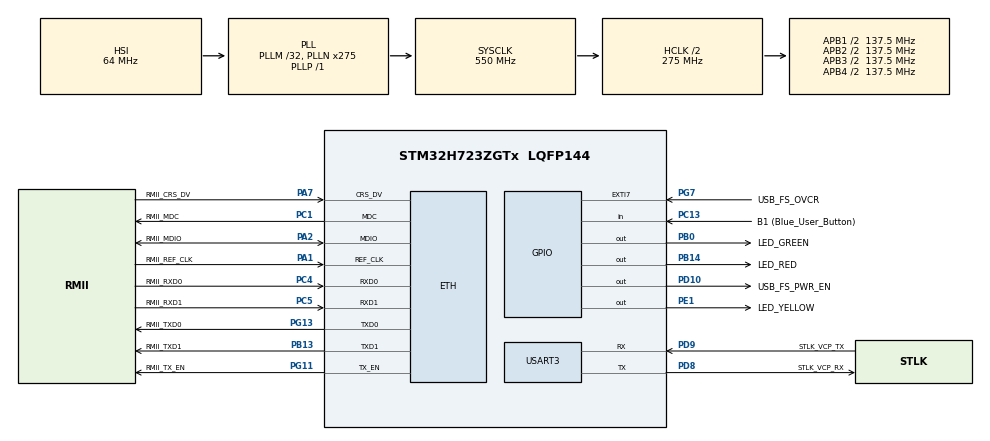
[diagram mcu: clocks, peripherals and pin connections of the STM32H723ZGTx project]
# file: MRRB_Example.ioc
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CORTEX_M7.AccessPermission-Cortex_Memory_Protection_Unit_Region0_Settings=MPU_REGION_FULL_ACCESS
CORTEX_M7.AccessPermission-Cortex_Memory_Protection_Unit_Region1_Settings=MPU_REGION_FULL_ACCESS
CORTEX_M7.BaseAddress-Cortex_Memory_Protection_Unit_Region1_Settings=0x30000000
CORTEX_M7.CPU_DCache=Enabled
CORTEX_M7.CPU_ICache=Enabled
CORTEX_M7.DisableExec-Cortex_Memory_Protection_Unit_Region1_Settings=MPU_INSTRUCTION_ACCESS_DISABLE
CORTEX_M7.Enable-Cortex_Memory_Protection_Unit_Region0_Settings=MPU_REGION_ENABLE
CORTEX_M7.Enable-Cortex_Memory_Protection_Unit_Region15_Settings=__NULL
CORTEX_M7.Enable-Cortex_Memory_Protection_Unit_Region1_Settings=MPU_REGION_ENABLE
CORTEX_M7.IsBufferable-Cortex_Memory_Protection_Unit_Region0_Settings=MPU_ACCESS_BUFFERABLE
CORTEX_M7.IsCacheable-Cortex_Memory_Protection_Unit_Region0_Settings=MPU_ACCESS_CACHEABLE
CORTEX_M7.MPU_Control=__NULL
CORTEX_M7.Size-Cortex_Memory_Protection_Unit_Region0_Settings=MPU_REGION_SIZE_1GB
CORTEX_M7.Size-Cortex_Memory_Protection_Unit_Region1_Settings=MPU_REGION_SIZE_1KB
CORTEX_M7.TypeExtField-Cortex_Memory_Protection_Unit_Region0_Settings=MPU_TEX_LEVEL1
CORTEX_M7.TypeExtField-Cortex_Memory_Protection_Unit_Region1_Settings=MPU_TEX_LEVEL1
ETH.MediaInterface=HAL_ETH_RMII_MODE
FATFS._FS_LOCK=4
FATFS._FS_RPATH=2
FATFS._USE_EXPAND=1
FATFS._USE_FORWARD=1
FATFS._USE_MUTEX=1
FREERTOS.Tasks01=defaultTask,24,512,StartDefaultTask,Default,NULL,Dynamic,NULL,NULL
FREERTOS.configCHECK_FOR_STACK_OVERFLOW=1
FREERTOS.configGENERATE_RUN_TIME_STATS=1
FREERTOS.configRECORD_STACK_HIGH_ADDRESS=1
FREERTOS.configTOTAL_HEAP_SIZE=40960
FREERTOS.configUSE_NEWLIB_REENTRANT=1
LWIP.API_LIB_DEBUG=LWIP_DBG_OFF
LWIP.API_MSG_DEBUG=LWIP_DBG_OFF
LWIP.AUTOIP_DEBUG=LWIP_DBG_OFF
LWIP.BSP.number=1
LWIP.DHCP_DEBUG=LWIP_DBG_OFF
LWIP.DNS_DEBUG=LWIP_DBG_OFF
LWIP.ETHARP_DEBUG=LWIP_DBG_OFF
LWIP.GATEWAY_ADDRESS=192.168.000.001
LWIP.ICMP_DEBUG=LWIP_DBG_ON
LWIP.IGMP_DEBUG=LWIP_DBG_ON
LWIP.INET_DEBUG=LWIP_DBG_OFF
LWIP.IP_ADDRESS=192.168.000.010
LWIP.IP_DEBUG=LWIP_DBG_OFF
LWIP.IP_REASS_DEBUG=LWIP_DBG_ON
LWIP.LWIP_DHCP=0
LWIP.LWIP_RAM_HEAP_POINTER=0x30004000
LWIP.LWIP_SINGLE_NETIF=1
LWIP.LWIP_SOCKET=1
LWIP.MEMP_DEBUG=LWIP_DBG_ON
LWIP.MEMP_NUM_NETCONN=8
LWIP.MEM_DEBUG=LWIP_DBG_ON
LWIP.MEM_SIZE=4096
LWIP.NETIF_DEBUG=LWIP_DBG_OFF
LWIP.NETMASK_ADDRESS=255.255.255.000
LWIP.PBUF_DEBUG=LWIP_DBG_OFF
LWIP.RAW_DEBUG=LWIP_DBG_ON
LWIP.SLIP_DEBUG=LWIP_DBG_OFF
LWIP.SOCKETS_DEBUG=LWIP_DBG_OFF
LWIP.SO_REUSE=1
LWIP.SYS_DEBUG=LWIP_DBG_ON
LWIP.TCPIP_DEBUG=LWIP_DBG_OFF
LWIP.TCPIP_THREAD_STACKSIZE=2048
LWIP.TCP_CWND_DEBUG=LWIP_DBG_OFF
LWIP.TCP_DEBUG=LWIP_DBG_OFF
LWIP.TCP_FR_DEBUG=LWIP_DBG_OFF
LWIP.TCP_INPUT_DEBUG=LWIP_DBG_OFF
LWIP.TCP_OUTPUT_DEBUG=LWIP_DBG_OFF
LWIP.TCP_QLEN_DEBUG=LWIP_DBG_OFF
LWIP.TCP_RST_DEBUG=LWIP_DBG_OFF
LWIP.TCP_RTO_DEBUG=LWIP_DBG_OFF
LWIP.TCP_WND_DEBUG=LWIP_DBG_OFF
LWIP.TIMERS_DEBUG=LWIP_DBG_OFF
LWIP.UDP_DEBUG=LWIP_DBG_OFF
LWIP.Version=v2.1.2_Cube
LWIP0.BSP.STBoard=false
LWIP0.BSP.api=BSP_COMPONENT_DRIVER
LWIP0.BSP.component=LAN8742
LWIP0.BSP.instance=LAN8742
LWIP0.BSP.name=Driver_PHY
LWIP0.BSP.semaphore=S_LAN8742
LWIP0.BSP.solution=LAN8742
Mcu.Family=STM32H7
Mcu.Name=STM32H723ZGTx
Mcu.Package=LQFP144
NVIC.ETH_IRQn=true\:5\:0\:false\:false\:true\:true\:true\:true\:true
NVIC.PriorityGroup=NVIC_PRIORITYGROUP_4
NVIC.TIM23_IRQn=true\:5\:0\:true\:false\:true\:true\:true\:true\:true
NVIC.TIM7_IRQn=true\:15\:0\:false\:false\:true\:false\:false\:true\:true
NVIC.TimeBase=TIM7_IRQn
NVIC.TimeBaseIP=TIM7
NVIC.USART3_IRQn=true\:5\:0\:false\:false\:true\:true\:true\:true\:true
PA1.GPIO_Label=RMII_REF_CLK
PA1.Mode=RMII
PA1.Signal=ETH_REF_CLK
PA10.GPIO_Label=USB_FS_ID
PA10.Signal=USB_OTG_HS_ID
PA13(JTMS/SWDIO).GPIO_Label=SWDIO
PA13(JTMS/SWDIO).Mode=Trace_Asynchronous_SW
PA13(JTMS/SWDIO).Signal=DEBUG_JTMS-SWDIO
PA14(JTCK/SWCLK).GPIO_Label=SWCLK
PA14(JTCK/SWCLK).Mode=Trace_Asynchronous_SW
PA14(JTCK/SWCLK).Signal=DEBUG_JTCK-SWCLK
PA2.GPIO_Label=RMII_MDIO
PA2.Mode=RMII
PA2.Signal=ETH_MDIO
PA7.GPIO_Label=RMII_CRS_DV
PA7.Mode=RMII
PA7.Signal=ETH_CRS_DV
PA9.GPIO_Label=USB_FS_VBUS
PA9.Signal=USB_OTG_HS_VBUS
PB0.GPIO_Label=LED_GREEN
PB0.Signal=GPIO_Output
PB13.GPIO_Label=RMII_TXD1
PB13.Mode=RMII
PB13.Signal=ETH_TXD1
PB14.GPIO_Label=LED_RED
PB14.Signal=GPIO_Output
PB3(JTDO/TRACESWO).GPIO_Label=SWO
PB3(JTDO/TRACESWO).Mode=Trace_Asynchronous_SW
PB3(JTDO/TRACESWO).Signal=DEBUG_JTDO-SWO
PC1.GPIO_Label=RMII_MDC
PC1.Mode=RMII
PC1.Signal=ETH_MDC
PC13.GPIO_Label=B1 (Blue_User_Button)
PC13.Signal=GPIO_Input
PC14-OSC32_IN.Mode=LSE-External-Oscillator
PC14-OSC32_IN.Signal=RCC_OSC32_IN
PC15-OSC32_OUT.Mode=LSE-External-Oscillator
PC15-OSC32_OUT.Signal=RCC_OSC32_OUT
PC4.GPIO_Label=RMII_RXD0
PC4.Mode=RMII
PC4.Signal=ETH_RXD0
PC5.GPIO_Label=RMII_RXD1
PC5.Mode=RMII
PC5.Signal=ETH_RXD1
PD10.GPIO_Label=USB_FS_PWR_EN
PD10.Signal=GPIO_Output
PD8.GPIO_Label=STLK_VCP_RX
PD8.Mode=Asynchronous
PD8.Signal=USART3_TX
PD9.GPIO_Label=STLK_VCP_TX
PD9.Mode=Asynchronous
PD9.Signal=USART3_RX
PE1.GPIO_Label=LED_YELLOW
PE1.Signal=GPIO_Output
PG11.GPIO_Label=RMII_TX_EN
PG11.Mode=RMII
PG11.Signal=ETH_TX_EN
PG13.GPIO_Label=RMII_TXD0
PG13.Mode=RMII
PG13.Signal=ETH_TXD0
PG7.GPIO_Label=USB_FS_OVCR
PG7.Signal=GPXTI7
PH0-OSC_IN.GPIO_Label=MCO
PH0-OSC_IN.Signal=RCC_OSC_IN
PH1-OSC_OUT.Signal=RCC_OSC_OUT
ProjectManager.HeapSize=0x200
ProjectManager.StackSize=0x400
ProjectManager.TargetToolchain=STM32CubeIDE
RCC.ADCFreq_Value=608000000
RCC.APB1Freq_Value=137500000
RCC.APB2Freq_Value=137500000
RCC.APB3Freq_Value=137500000
RCC.APB4Freq_Value=137500000
RCC.CortexFreq_Value=550000000
RCC.D1PPRE=RCC_APB3_DIV2
RCC.D2PPRE1=RCC_APB1_DIV2
RCC.D2PPRE2=RCC_APB2_DIV2
RCC.D3PPRE=RCC_APB4_DIV2
RCC.DIVM2=1
RCC.DIVN1=275
RCC.DIVN2=19
RCC.DIVP1=1
RCC.DIVQ1=4
RCC.HCLKFreq_Value=275000000
RCC.HPRE=RCC_HCLK_DIV2
RCC.HSE_VALUE=8000000
RCC.PLL2FRACN=0
RCC.PLL3FRACN=0
RCC.PLLFRACN=0
RCC.SYSCLKFreq_VALUE=550000000
RCC.SYSCLKSource=RCC_SYSCLKSOURCE_PLLCLK
RCC.USBCLockSelection=RCC_USBCLKSOURCE_HSI48
RCC.USBFreq_Value=48000000
TIM23.Prescaler=274
USART3.VirtualMode-Asynchronous=VM_ASYNC
VP_FATFS_VS_Generic.Mode=User_defined
VP_FREERTOS_VS_CMSIS_V2.Mode=CMSIS_V2
VP_LWIP_VS_Enabled.Mode=Enabled
VP_SYS_VS_tim7.Mode=TIM7
VP_TIM23_VS_ClockSourceINT.Mode=Internal
board=NUCLEO-H723ZG

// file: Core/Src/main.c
/* USER CODE BEGIN Header */
/**
  ******************************************************************************
  * @file           : main.c
  * @brief          : Main program body
  ******************************************************************************
  * @attention
  *
  * Copyright (c) 2023 STMicroelectronics.
  * All rights reserved.
  *
  * This software is licensed under terms that can be found in the LICENSE file
  * in the root directory of this software component.
  * If no LICENSE file comes with this software, it is provided AS-IS.
  *
  ******************************************************************************
  */
/* USER CODE END Header */
#include "main.h"
#include "cmsis_os.h"
#include "fatfs.h"
#include "lwip.h"
#include "tim.h"
#include "usart.h"
#include "gpio.h"

/* USER CODE BEGIN Includes */
#include "mrrb_retarget.h"
/* USER CODE END Includes */

/* USER CODE BEGIN PV */
// Copy of LWIP heap. Included so it is linked correctly and prevent memory leakage
uint8_t __attribute__((section(".LWIP_heap"))) LWIP_heap[MEM_SIZE];

/* USER CODE END PV */

void SystemClock_Config(void);
static void MPU_Initialize(void);
static void MPU_Config(void);
void MX_FREERTOS_Init(void);
/* USER CODE BEGIN PFP */
void TIM23_PeriodElapsedCallback(TIM_HandleTypeDef *htim);
/* USER CODE END PFP */

int main(void)
{

  /* Enable I-Cache---------------------------------------------------------*/
  SCB_EnableICache();

  /* Enable D-Cache---------------------------------------------------------*/
  SCB_EnableDCache();

  /* MCU Configuration--------------------------------------------------------*/

  /* Reset of all peripherals, Initializes the Flash interface and the Systick. */
  HAL_Init();

  /* MPU Configuration--------------------------------------------------------*/
  MPU_Config();

  /* Configure the system clock */
  SystemClock_Config();

  /* Initialize all configured peripherals */
  MX_GPIO_Init();
  MX_USART3_UART_Init();
  MX_FATFS_Init();
  MX_TIM23_Init();
  /* USER CODE BEGIN 2 */
  mrrb_retarget_init();
  /* USER CODE END 2 */

  /* Init scheduler */
  osKernelInitialize();  /* Call init function for freertos objects (in freertos.c) */
  MX_FREERTOS_Init();

  /* Start scheduler */
  osKernelStart();

  /* We should never get here as control is now taken by the scheduler */
  /* Infinite loop */
  while (1)
  {

  }
}

void SystemClock_Config(void)
{
  RCC_OscInitTypeDef RCC_OscInitStruct = {0};
  RCC_ClkInitTypeDef RCC_ClkInitStruct = {0};

  /** Supply configuration update enable
  */
  HAL_PWREx_ConfigSupply(PWR_LDO_SUPPLY);

  /** Configure the main internal regulator output voltage
  */
  __HAL_PWR_VOLTAGESCALING_CONFIG(PWR_REGULATOR_VOLTAGE_SCALE0);

  while(!__HAL_PWR_GET_FLAG(PWR_FLAG_VOSRDY)) {}

  /** Initializes the RCC Oscillators according to the specified parameters
  * in the RCC_OscInitTypeDef structure.
  */
  RCC_OscInitStruct.OscillatorType = RCC_OSCILLATORTYPE_HSI;
  RCC_OscInitStruct.HSIState = RCC_HSI_DIV1;
  RCC_OscInitStruct.HSICalibrationValue = 64;
  RCC_OscInitStruct.PLL.PLLState = RCC_PLL_ON;
  RCC_OscInitStruct.PLL.PLLSource = RCC_PLLSOURCE_HSI;
  RCC_OscInitStruct.PLL.PLLM = 32;
  RCC_OscInitStruct.PLL.PLLN = 275;
  RCC_OscInitStruct.PLL.PLLP = 1;
  RCC_OscInitStruct.PLL.PLLQ = 4;
  RCC_OscInitStruct.PLL.PLLR = 2;
  RCC_OscInitStruct.PLL.PLLRGE = RCC_PLL1VCIRANGE_1;
  RCC_OscInitStruct.PLL.PLLVCOSEL = RCC_PLL1VCOWIDE;
  RCC_OscInitStruct.PLL.PLLFRACN = 0;
  if (HAL_RCC_OscConfig(&RCC_OscInitStruct) != HAL_OK)
  {
    Error_Handler();
  }

  /** Initializes the CPU, AHB and APB buses clocks
  */
  RCC_ClkInitStruct.ClockType = RCC_CLOCKTYPE_HCLK|RCC_CLOCKTYPE_SYSCLK
                              |RCC_CLOCKTYPE_PCLK1|RCC_CLOCKTYPE_PCLK2
                              |RCC_CLOCKTYPE_D3PCLK1|RCC_CLOCKTYPE_D1PCLK1;
  RCC_ClkInitStruct.SYSCLKSource = RCC_SYSCLKSOURCE_PLLCLK;
  RCC_ClkInitStruct.SYSCLKDivider = RCC_SYSCLK_DIV1;
  RCC_ClkInitStruct.AHBCLKDivider = RCC_HCLK_DIV2;
  RCC_ClkInitStruct.APB3CLKDivider = RCC_APB3_DIV2;
  RCC_ClkInitStruct.APB1CLKDivider = RCC_APB1_DIV2;
  RCC_ClkInitStruct.APB2CLKDivider = RCC_APB2_DIV2;
  RCC_ClkInitStruct.APB4CLKDivider = RCC_APB4_DIV2;

  if (HAL_RCC_ClockConfig(&RCC_ClkInitStruct, FLASH_LATENCY_3) != HAL_OK)
  {
    Error_Handler();
  }
}

/* MPU Configuration */

void MPU_Config(void)
{
  MPU_Region_InitTypeDef MPU_InitStruct = {0};

  /* Disables the MPU */
  HAL_MPU_Disable();

  /** Initializes and configures the Region and the memory to be protected
  */
  MPU_InitStruct.Enable = MPU_REGION_ENABLE;
  MPU_InitStruct.Number = MPU_REGION_NUMBER0;
  MPU_InitStruct.BaseAddress = 0x0;
  MPU_InitStruct.Size = MPU_REGION_SIZE_1GB;
  MPU_InitStruct.SubRegionDisable = 0x0;
  MPU_InitStruct.TypeExtField = MPU_TEX_LEVEL1;
  MPU_InitStruct.AccessPermission = MPU_REGION_FULL_ACCESS;
  MPU_InitStruct.DisableExec = MPU_INSTRUCTION_ACCESS_ENABLE;
  MPU_InitStruct.IsShareable = MPU_ACCESS_NOT_SHAREABLE;
  MPU_InitStruct.IsCacheable = MPU_ACCESS_CACHEABLE;
  MPU_InitStruct.IsBufferable = MPU_ACCESS_BUFFERABLE;

  HAL_MPU_ConfigRegion(&MPU_InitStruct);

  /** Initializes and configures the Region and the memory to be protected
  */
  MPU_InitStruct.Number = MPU_REGION_NUMBER1;
  MPU_InitStruct.BaseAddress = 0x30000000;
  MPU_InitStruct.Size = MPU_REGION_SIZE_1KB;
  MPU_InitStruct.DisableExec = MPU_INSTRUCTION_ACCESS_DISABLE;
  MPU_InitStruct.IsCacheable = MPU_ACCESS_NOT_CACHEABLE;
  MPU_InitStruct.IsBufferable = MPU_ACCESS_NOT_BUFFERABLE;

  HAL_MPU_ConfigRegion(&MPU_InitStruct);
  /* Enables the MPU */
  HAL_MPU_Enable(MPU_PRIVILEGED_DEFAULT);

}

void HAL_TIM_PeriodElapsedCallback(TIM_HandleTypeDef *htim)
{
  if (htim->Instance == TIM7) {
    HAL_IncTick();
  }
  /* USER CODE BEGIN Callback 1 */
  if (htim->Instance == TIM23) {
    TIM23_PeriodElapsedCallback(&htim23);
  }
  /* USER CODE END Callback 1 */
}

void Error_Handler(void)
{
  __disable_irq();
  while (1)
  {
  }
}

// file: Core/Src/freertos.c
/* USER CODE BEGIN Header */
/**
  ******************************************************************************
  * File Name          : freertos.c
  * Description        : Code for freertos applications
  ******************************************************************************
  * @attention
  *
  * Copyright (c) 2023 STMicroelectronics.
  * All rights reserved.
  *
  * This software is licensed under terms that can be found in the LICENSE file
  * in the root directory of this software component.
  * If no LICENSE file comes with this software, it is provided AS-IS.
  *
  ******************************************************************************
  */
/* USER CODE END Header */

#include "FreeRTOS.h"
#include "task.h"
#include "main.h"
#include "cmsis_os.h"

/* USER CODE BEGIN Includes */
#include <stdio.h>
#include "sys.h"
#include "tim.h"
/* USER CODE END Includes */

/* USER CODE BEGIN PTD */
#ifdef __GNUC__
#define USED __attribute__((used))
#else
#define USED
#endif
/* USER CODE END PTD */

/* USER CODE BEGIN Variables */
const unsigned char *const header =
"\n\n\n"
"                    =============================\n"
"                    |                           |\n"
"                    |  MRRB Retarget Example    |\n"
"                    |  -----------------------  |\n"
"                    |  Platform: NUCLEO-H723ZG  |\n"
"                    |  Author:   Luca Rufer     |\n"
"                    |                           |\n"
"                    =============================\n"
"\n\n\n";

// RunTimeCounter counting variable
volatile uint32_t _runTimeCounter_OverflowCount = 0;

// Workaround for OpenOCD to detect FreeRTOS versions since 7.5.3
#if (tskKERNEL_VERSION_MAJOR) > 7 || \
    ((tskKERNEL_VERSION_MAJOR) == 7 && (tskKERNEL_VERSION_MINOR > 5)) || \
    ((tskKERNEL_VERSION_MAJOR) == 7 && (tskKERNEL_VERSION_MINOR == 5) && tskKERNEL_VERSION_BUILD >= 3)
const int USED uxTopUsedPriority = configMAX_PRIORITIES - 1;
#endif

/* USER CODE END Variables */
/* Definitions for defaultTask */
osThreadId_t defaultTaskHandle;
const osThreadAttr_t defaultTask_attributes = {
  .name = "defaultTask",
  .stack_size = 512 * 4,
  .priority = (osPriority_t) osPriorityNormal,
};
/* Definitions for RTOS_stats_UDP */
osThreadId_t RTOS_stats_UDPHandle;
const osThreadAttr_t RTOS_stats_UDP_attributes = {
  .name = "RTOS_stats_UDP",
  .stack_size = 384 * 4,
  .priority = (osPriority_t) osPriorityLow,
};

/* USER CODE BEGIN FunctionPrototypes */
void TIM23_PeriodElapsedCallback(TIM_HandleTypeDef *htim);
void _print_threads_status(void);
/* USER CODE END FunctionPrototypes */

void StartDefaultTask(void *argument);
extern void RTOS_stats_UDP_thread(void *argument);

extern void MX_LWIP_Init(void);
void MX_FREERTOS_Init(void); /* (MISRA C 2004 rule 8.1) */

/* Hook prototypes */
void configureTimerForRunTimeStats(void);
unsigned long getRunTimeCounterValue(void);
void vApplicationStackOverflowHook(xTaskHandle xTask, signed char *pcTaskName);

/* USER CODE BEGIN 1 */
/* Functions needed when configGENERATE_RUN_TIME_STATS is on */
void configureTimerForRunTimeStats(void)
{
  // If callback registration is enabled, register the period elapsed callback
#if USE_HAL_TIM_REGISTER_CALLBACKS
  HAL_TIM_RegisterCallback(&htim23, HAL_TIM_PERIOD_ELAPSED_CB_ID, TIM23_PeriodElapsedCallback);
#endif /* USE_HAL_TIM_REGISTER_CALLBACKS */
  // If Debug is enabled, freeze the timer when the debugger halts the core
#ifdef DEBUG
  __HAL_DBGMCU_FREEZE_TIM23();
#endif /* DEBUG */
  // Set the overflow to 0
  _runTimeCounter_OverflowCount = 0;
  // Start the timer
  HAL_TIM_Base_Start_IT(&htim23);
}

unsigned long getRunTimeCounterValue(void)
{
  uint32_t upper, lower;
  uint64_t runtime_us;
  // Acquire upper and lower 32-bit counter values
  upper = _runTimeCounter_OverflowCount;
  lower = __HAL_TIM_GET_COUNTER(&htim23);
  __DSB();
  // Check that no overflow occurrend while reading the values
  // Only single re-try, as this happens once per 1.2 hours.
  if (upper != _runTimeCounter_OverflowCount) {
    upper = _runTimeCounter_OverflowCount;
    lower = __HAL_TIM_GET_COUNTER(&htim23);
  }
  // combine upper and lower 32 bits
  runtime_us = (((uint64_t) upper) << 32) | lower;
  return runtime_us;
}

void TIM23_PeriodElapsedCallback(TIM_HandleTypeDef *htim) {
  if(htim == &htim23) {
    _runTimeCounter_OverflowCount++;
  }
}
/* USER CODE END 1 */

/* USER CODE BEGIN 4 */
void vApplicationStackOverflowHook(xTaskHandle xTask, signed char *pcTaskName)
{
  printf("[ERROR] Stack overflow of thread: %s\n", pcTaskName);
  configASSERT(0);
}
/* USER CODE END 4 */

void MX_FREERTOS_Init(void) {

  /* Create the thread(s) */
  /* creation of defaultTask */
  defaultTaskHandle = osThreadNew(StartDefaultTask, NULL, &defaultTask_attributes);

  /* creation of RTOS_stats_UDP */
  RTOS_stats_UDPHandle = osThreadNew(RTOS_stats_UDP_thread, NULL, &RTOS_stats_UDP_attributes);

}

void StartDefaultTask(void *argument)
{
  /* init code for LWIP */
  MX_LWIP_Init();
  /* USER CODE BEGIN StartDefaultTask */

  // Print the header
  printf(header);

  int button_was_pressed = 0;

  /* Infinite loop */
  for(;;)
  {
    osDelay(10);
    if (HAL_GPIO_ReadPin(B1_GPIO_Port, B1_Pin) == GPIO_PIN_SET) {
      if (!button_was_pressed) {
        _print_threads_status();
        button_was_pressed = 1;
      }
    } else {
      button_was_pressed = 0;
    }
  }
  /* USER CODE END StartDefaultTask */
}

/* USER CODE BEGIN Application */

void _print_threads_status() {
  // Get the number of tasks
  uint16_t arraySize = uxTaskGetNumberOfTasks();

  // Prepare an Array to get the task descriptions
  TaskStatus_t taskStatusArray[arraySize];

  // Generate raw status information about each task.
  arraySize = uxTaskGetSystemState( taskStatusArray, arraySize, NULL);

  // Print the header
  printf("=============== System stats: ===============\n");
  printf("   Thread Name      Stackbase\tStack Left\n");

  // Print the information for each Task
  for(unsigned int x = 0; x < arraySize; x++ ) {
    TaskStatus_t tsk = taskStatusArray[x];
    printf("   %-16s %p\t%hu\n", tsk.pcTaskName, tsk.pxStackBase, tsk.usStackHighWaterMark);
  }

  // Print the footer
  printf("============ Total: %4hu Threads ============\n", arraySize);
}
/* USER CODE END Application */
